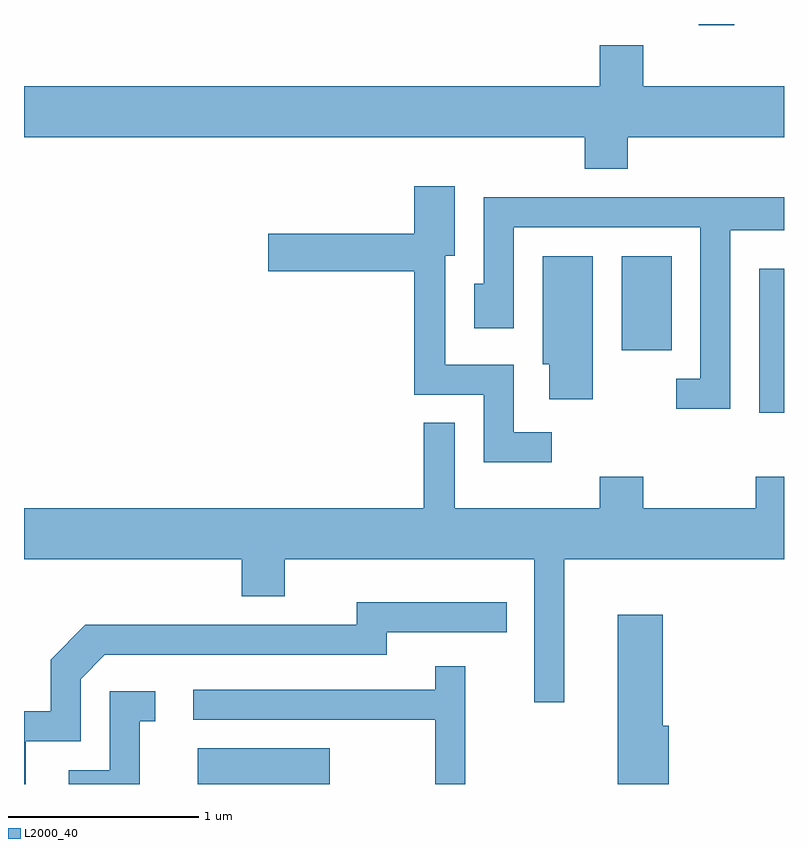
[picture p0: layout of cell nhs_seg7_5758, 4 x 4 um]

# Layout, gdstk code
import gdstk
lib = gdstk.Library(unit=1e-6, precision=1e-09)
def R(c, l, rs):  # rectangles x0, y0, x1, y1
    for r in rs: c.add(gdstk.rectangle(r[:2], r[2:], *l))
def P(c, l, *ps):  # polygons
    for p in ps: c.add(gdstk.Polygon(p, *l))
L2000_40 = (2000, 40)

nhs_seg7_5758 = lib.new_cell('nhs_seg7_5758')
R(nhs_seg7_5758, L2000_40, [(362.526,1704.252,363.219,1704.439), (365.481,1706.206,365.611,1706.964), (364.756,1706.536,365.019,1707.029), (365.161,1708.246,365.349,1708.252)])
P(nhs_seg7_5758, L2000_40, [(364.789,1707.656),(365.611,1707.656),(365.611,1707.924),(364.869,1707.924),(364.869,1708.139),(364.641,1708.139),(364.641,1707.924),(361.611,1707.924),(361.611,1707.656),(364.561,1707.656),(364.561,1707.491),(364.789,1707.491)],
  [(364.388,1706.104),(364.189,1706.104),(364.189,1706.459),(363.829,1706.459),(363.829,1707.031),(363.879,1707.031),(363.879,1707.399),(363.666,1707.399),(363.666,1707.149),(362.896,1707.149),(362.896,1706.951),(363.666,1706.951),(363.666,1706.301),(364.031,1706.301),(364.031,1705.946),(364.388,1705.946)],
  [(365.329,1707.166),(365.611,1707.166),(365.611,1707.339),(364.031,1707.339),(364.031,1706.884),(363.981,1706.884),(363.981,1706.651),(364.189,1706.651),(364.189,1707.181),(365.171,1707.181),(365.171,1706.384),(365.043,1706.384),(365.043,1706.226),(365.329,1706.226)],
  [(364.604,1707.029),(364.341,1707.029),(364.341,1706.461),(364.376,1706.461),(364.376,1706.276),(364.604,1706.276)],
  [(364.454,1705.436),(365.611,1705.436),(365.611,1705.869),(365.461,1705.869),(365.461,1705.704),(364.869,1705.704),(364.869,1705.869),(364.641,1705.869),(364.641,1705.704),(363.879,1705.704),(363.879,1706.153),(363.716,1706.153),(363.716,1705.704),(361.611,1705.704),(361.611,1705.436),(362.756,1705.436),(362.756,1705.241),(362.984,1705.241),(362.984,1705.436),(364.296,1705.436),(364.296,1704.683),(364.454,1704.683)],
  [(361.619,1704.476),(361.909,1704.476),(361.909,1704.804),(362.037,1704.931),(363.519,1704.931),(363.519,1705.051),(364.153,1705.051),(364.153,1705.209),(363.361,1705.209),(363.361,1705.089),(361.934,1705.089),(361.751,1704.907),(361.751,1704.634),(361.611,1704.634),(361.611,1704.252),(361.619,1704.252)],
  [(365.004,1704.559),(364.974,1704.559),(364.974,1705.144),(364.736,1705.144),(364.736,1704.252),(365.004,1704.252)],
  [(363.934,1704.873),(363.776,1704.873),(363.776,1704.749),(362.503,1704.749),(362.503,1704.591),(363.776,1704.591),(363.776,1704.252),(363.934,1704.252)],
  [(362.219,1704.581),(362.303,1704.581),(362.303,1704.739),(362.061,1704.739),(362.061,1704.324),(361.846,1704.324),(361.846,1704.252),(362.219,1704.252)])

lib.write_gds('nhs_seg7_5758.gds')
